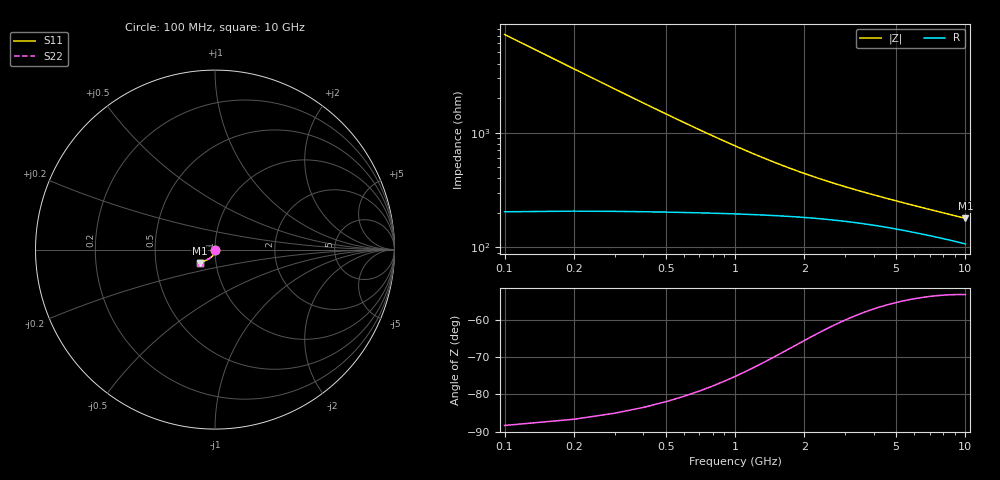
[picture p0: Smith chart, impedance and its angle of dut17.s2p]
! Touchstone file exported from HFSS 2024.1.0
!  File:  C:/UserFiles/LocalFiles/RDL_TSV_Batchsim/temp_TSV1_17_1778763810.aedt
!  Generated:  09:07:35 PM May 14, 2026
!  Design:  TSV1
!  Project:  temp_TSV1_17_1778763810
!  Setup:  Setup1
!  Solution:  Sweep
! Variables:
!  dtsv = 21.42um
!  hbump = 3um
!  htsv = 85.87um
!  lrdl = 252.1521522um
!  p = 40
!  p1 = 49.25um
!  t = 500um
!  trdl = 3um
!  wrdl = 24.89489489um
# GHz S MA R 50.000000
! Terminal data exported
! Port[1] = TSV22_T1
! Port[2] = TSV22_T2
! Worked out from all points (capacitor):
!   100 points, 100 MHz to 10 GHz, reference 50 ohm
!   read as one part in shunt: C = 222 fF near 100 MHz
!   lowest |Z| = 179 ohm at 10 GHz (marker M1)
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0.1  0.003214 -90.5  0.9998 -0.2  0.9998 -0.2  0.003214 -90.5
! Gamma 0 0 0 0
! Port Impedance 50 0 50 0
0.2  0.006418 -93.1  0.9995 -0.4  0.9995 -0.4  0.006418 -93.1
0.3  0.009601 -95.2  0.9989 -0.6  0.9989 -0.6  0.009601 -95.2
0.4  0.01275 -97.1  0.9982 -0.8  0.9982 -0.8  0.01275 -97.1
0.5  0.01584 -98.9  0.9973 -1.0  0.9973 -1.0  0.01584 -98.9
0.6  0.01886 -100.7  0.9963 -1.2  0.9963 -1.2  0.01886 -100.7
0.7  0.02181 -102.3  0.9951 -1.4  0.9951 -1.4  0.02181 -102.3
0.8  0.02467 -104.0  0.9938 -1.6  0.9938 -1.6  0.02467 -104.0
0.9  0.02744 -105.5  0.9924 -1.8  0.9924 -1.8  0.02744 -105.5
1.1  0.03268 -108.5  0.9895 -2.1  0.9895 -2.1  0.03268 -108.5
1.4  0.03981 -112.5  0.9848 -2.5  0.9848 -2.5  0.03981 -112.5
1.6  0.04409 -114.8  0.9816 -2.7  0.9816 -2.7  0.04409 -114.8
1.8  0.04801 -117.0  0.9785 -2.9  0.9785 -2.9  0.04801 -117.0
2.1  0.0533 -119.8  0.9741 -3.2  0.9741 -3.2  0.0533 -119.8
2.5  0.05943 -122.8  0.9685 -3.6  0.9685 -3.6  0.05943 -122.8
2.9  0.06474 -125.3  0.9635 -3.8  0.9635 -3.8  0.06474 -125.3
3.4  0.07051 -127.7  0.958 -4.1  0.958 -4.1  0.07051 -127.7
4.2  0.07836 -130.6  0.9505 -4.6  0.9505 -4.6  0.07836 -130.6
5.1  0.08585 -132.9  0.9434 -5.0  0.9434 -5.0  0.08585 -132.9
6.7  0.09689 -135.6  0.9333 -5.7  0.9333 -5.7  0.09689 -135.6
8.4  0.1065 -137.5  0.9248 -6.5  0.9248 -6.5  0.1065 -137.5
10  0.1143 -138.6  0.9183 -7.1  0.9183 -7.1  0.1143 -138.6
